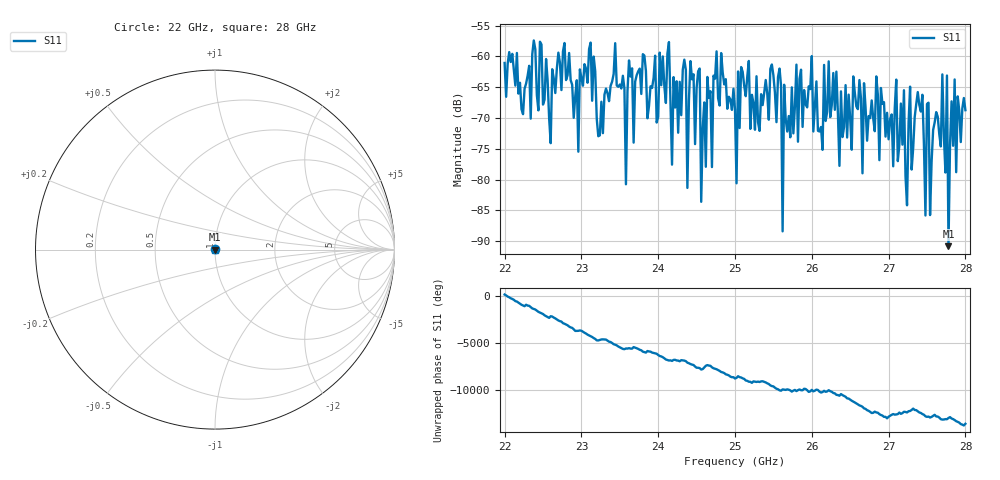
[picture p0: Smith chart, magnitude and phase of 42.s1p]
#  HZ  S  RI  R  50.00
! Rohde & Schwarz ZVA40 4Ports - Version 3.90 - 1145.1110k42 SN: 100403
! Date: 2023-10-04 07:56:53
! Measurement: S12
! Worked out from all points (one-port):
!   301 points, 22 GHz to 28 GHz, reference 50 ohm
!   lowest |S11| = -90.8 dB at 27.78 GHz (marker M1), VSWR 1.00, Z = 50 - j0.000286 ohm
!   |S11| at or under -10 dB: start of sweep to end of sweep
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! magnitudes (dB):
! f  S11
! 22 GHz  -61.0
! 22.46 GHz  -57.6
! 22.6 GHz  -74.1
! 22.76 GHz  -59.2
! 22.96 GHz  -75.5
! 23.12 GHz  -57.7
! 23.22 GHz  -72.9
! 23.5 GHz  -64.5
! 23.58 GHz  -80.7
! 23.62 GHz  -60.6
! 23.68 GHz  -74.0
! 24.14 GHz  -57.7
! 24.18 GHz  -77.6
! 24.2 GHz  -63.3
! 24.26 GHz  -72.4
! 25 GHz  -68.6
! 25.76 GHz  -72.5
! 26.5 GHz  -70.1
! 27.26 GHz  -70.8
! 27.52 GHz  -67.5
! 27.54 GHz  -85.7
! 27.7 GHz  -62.9
! 27.74 GHz  -78.8
! 27.76 GHz  -63.1
! 27.78 GHz  -90.8
! 27.86 GHz  -63.7
! 27.88 GHz  -78.8
! 28 GHz  -68.7
